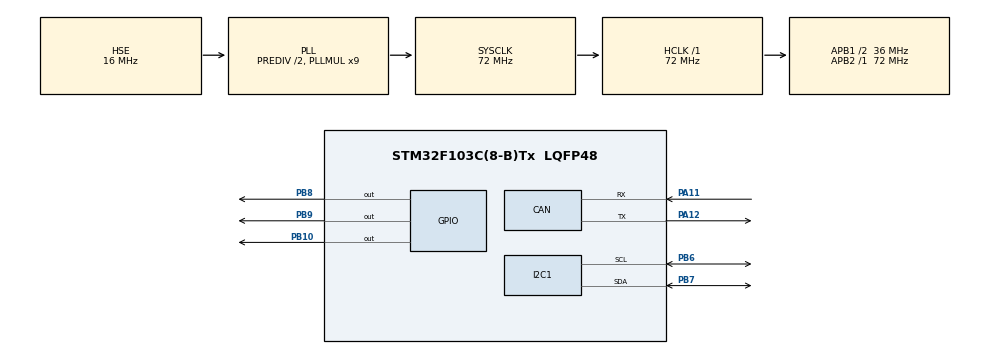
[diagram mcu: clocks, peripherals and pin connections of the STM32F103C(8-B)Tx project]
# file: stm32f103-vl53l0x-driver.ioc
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CAN.BS1=CAN_BS1_1TQ
CAN.BS2=CAN_BS2_1TQ
CAN.CalculateTimeBit=1333
CAN.CalculateTimeQuantum=444.44444444444446
Mcu.Family=STM32F1
Mcu.Name=STM32F103C(8-B)Tx
Mcu.Package=LQFP48
NVIC.CAN1_RX1_IRQn=true\:0\:0\:false\:false\:true\:true\:true
NVIC.PriorityGroup=NVIC_PRIORITYGROUP_4
PA11.Mode=Master
PA11.Signal=CAN_RX
PA12.Mode=Master
PA12.Signal=CAN_TX
PA13.Mode=Trace_Asynchronous_SW
PA13.Signal=SYS_JTMS-SWDIO
PA14.Mode=Trace_Asynchronous_SW
PA14.Signal=SYS_JTCK-SWCLK
PB10.Signal=GPIO_Output
PB3.Mode=Trace_Asynchronous_SW
PB3.Signal=SYS_JTDO-TRACESWO
PB6.Mode=I2C
PB6.Signal=I2C1_SCL
PB7.Mode=I2C
PB7.Signal=I2C1_SDA
PB8.Signal=GPIO_Output
PB9.Signal=GPIO_Output
PD0-OSC_IN.Mode=HSE-External-Oscillator
PD0-OSC_IN.Signal=RCC_OSC_IN
PD1-OSC_OUT.Mode=HSE-External-Oscillator
PD1-OSC_OUT.Signal=RCC_OSC_OUT
ProjectManager.HeapSize=0x1000
ProjectManager.StackSize=0x1000
ProjectManager.TargetToolchain=STM32CubeIDE
RCC.AHBFreq_Value=72000000
RCC.APB1CLKDivider=RCC_HCLK_DIV2
RCC.APB1Freq_Value=36000000
RCC.APB1TimFreq_Value=72000000
RCC.APB2Freq_Value=72000000
RCC.APB2TimFreq_Value=72000000
RCC.HCLKFreq_Value=72000000
RCC.HSEDivPLL=RCC_HSE_PREDIV_DIV2
RCC.HSE_VALUE=16000000
RCC.PLLMUL=RCC_PLL_MUL9
RCC.PLLSourceVirtual=RCC_PLLSOURCE_HSE
RCC.SYSCLKFreq_VALUE=72000000
RCC.SYSCLKSource=RCC_SYSCLKSOURCE_PLLCLK
RCC.USBFreq_Value=72000000
board=custom

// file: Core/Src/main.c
/* USER CODE BEGIN Header */
/**
  ******************************************************************************
  * @file           : main.c
  * @brief          : Main program body
  ******************************************************************************
  * @attention
  *
  * <h2><center>&copy; Copyright (c) 2020 STMicroelectronics.
  * All rights reserved.</center></h2>
  *
  * This software component is licensed by ST under BSD 3-Clause license,
  * the "License"; You may not use this file except in compliance with the
  * License. You may obtain a copy of the License at:
  *                        opensource.org/licenses/BSD-3-Clause
  *
  ******************************************************************************
  */
/* USER CODE END Header */

#include "main.h"

/* USER CODE BEGIN Includes */
#include "vl53l0x_usr.h"
#include "vl53l0x.h"
/* USER CODE END Includes */

/* USER CODE BEGIN PD */
#define LONG_RANGE
#define HIGH_SPEED
/* USER CODE END PD */

CAN_HandleTypeDef hcan;

I2C_HandleTypeDef hi2c1;

/* USER CODE BEGIN PV */
uint8_t aa = 0;
uint8_t bb = 0;
uint8_t cc = 0;
uint8_t ctrl_a = 0x00;
uint8_t ctrl_b = 0x00;
uint8_t init1 = 0;
uint8_t init2 = 0;
uint8_t measureValueToSm1 = 0;
uint8_t measureValueToSm2 = 0;
uint8_t measureValueToSm3 = 0;
uint16_t measureValue1 = 0;
uint16_t measureValue2 = 0;
uint16_t value1 = 0;
uint16_t value2 = 0;
uint8_t vl53l0x_data[3];
volatile uint32_t sysTick_Time = 0;
struct VL53L0X myTOFsensor1 = {.io_2v8 = true, .address = 0b0101001, .io_timeout = 50, .did_timeout = false};
struct VL53L0X myTOFsensor2 = {.io_2v8 = true, .address = 0b0101001, .io_timeout = 50, .did_timeout = false};
struct VL53L0X myTOFsensor3 = {.io_2v8 = true, .address = 0b0101001, .io_timeout = 50, .did_timeout = false};

CAN_TxHeaderTypeDef pHeader;
CAN_RxHeaderTypeDef pRxHeader;
CAN_FilterTypeDef sFilterConfig;
uint32_t TxMailbox;
/* USER CODE END PV */

void SystemClock_Config(void);
static void MX_GPIO_Init(void);
static void MX_CAN_Init(void);
static void MX_I2C1_Init(void);

int main(void)
{

  /* MCU Configuration--------------------------------------------------------*/

  /* Reset of all peripherals, Initializes the Flash interface and the Systick. */
  HAL_Init();

  /* Configure the system clock */
  SystemClock_Config();

  /* Initialize all configured peripherals */
  MX_GPIO_Init();
  MX_CAN_Init();
  MX_I2C1_Init();
  /* USER CODE BEGIN 2 */
  sensor_ini();
  HAL_GPIO_WritePin(GPIOB,GPIO_PIN_8,GPIO_PIN_RESET);
  HAL_Delay(20);
  HAL_GPIO_WritePin(GPIOB,GPIO_PIN_8,GPIO_PIN_SET);
  HAL_Delay(20);
  VL53L0X_setAddress(&myTOFsensor1,0x32);
  HAL_Delay(20);
  if(VL53L0X_init(&myTOFsensor1)) {
  	  aa = 2;
  }
  else {
	  aa = 1;
  }
//  HAL_GPIO_WritePin(GPIOB,GPIO_PIN_9,GPIO_PIN_SET);
//  HAL_Delay(20);
//  VL53L0X_setAddress(&myTOFsensor2,0x50);
//  HAL_Delay(20);
//  if(VL53L0X_init(&myTOFsensor2)) {
//	  bb = 2;
//  }
//  else {
//  	  bb = 1;
//  }
//  HAL_GPIO_WritePin(GPIOB,GPIO_PIN_15,GPIO_PIN_SET);
//  HAL_Delay(20);
//  VL53L0X_setAddress(&myTOFsensor3,0x33);
//  HAL_Delay(20);
//  if(VL53L0X_init(&myTOFsensor3)) {
//	  cc = 2;
//  }
//  else {
//	  cc = 1;
//  }
//
  #ifdef LONG_RANGE
  	// lower the return signal rate limit (default is 0.25 MCPS)
  VL53L0X_setSignalRateLimit(&myTOFsensor1, 0.1);
  	// increase laser pulse periods (defaults are 14 and 10 PCLKs)
  VL53L0X_setVcselPulsePeriod(&myTOFsensor1, VcselPeriodPreRange, 18);
  VL53L0X_setVcselPulsePeriod(&myTOFsensor1, VcselPeriodFinalRange, 14);
  	// lower the return signal rate limit (default is 0.25 MCPS)
  VL53L0X_setSignalRateLimit(&myTOFsensor2, 0.1);
  	//increase laser pulse periods (defaults are 14 and 10 PCLKs)
  VL53L0X_setVcselPulsePeriod(&myTOFsensor2, VcselPeriodPreRange, 18);
  VL53L0X_setVcselPulsePeriod(&myTOFsensor2, VcselPeriodFinalRange, 14);
	// lower the return signal rate limit (default is 0.25 MCPS)
  VL53L0X_setSignalRateLimit(&myTOFsensor3, 0.1);
	//increase laser pulse periods (defaults are 14 and 10 PCLKs)
  VL53L0X_setVcselPulsePeriod(&myTOFsensor3, VcselPeriodPreRange, 18);
  VL53L0X_setVcselPulsePeriod(&myTOFsensor3, VcselPeriodFinalRange, 14);
  #endif
  #ifdef HIGH_SPEED
  	// reduce timing budget to 20 ms (default is about 33 ms)
  VL53L0X_setMeasurementTimingBudget(&myTOFsensor1, 33000);
  VL53L0X_setMeasurementTimingBudget(&myTOFsensor2, 33000);
  VL53L0X_setMeasurementTimingBudget(&myTOFsensor3, 33000);
  #else //HIGH_ACCURACY
  	// increase timing budget to 200 ms
  VL53L0X_setMeasurementTimingBudget(&myTOFsensor1, 200000);
  VL53L0X_setMeasurementTimingBudget(&myTOFsensor2, 200000);
  VL53L0X_setMeasurementTimingBudget(&myTOFsensor3, 200000);
  #endif

  VL53L0X_startContinuous(&myTOFsensor1, 0);
  VL53L0X_startContinuous(&myTOFsensor2, 0);
  VL53L0X_startContinuous(&myTOFsensor3, 0);

  pHeader.DLC = 3;
  pHeader.IDE = CAN_ID_STD;
  pHeader.RTR = CAN_RTR_DATA;
  pHeader.StdId = 0x3D;

  sFilterConfig.FilterFIFOAssignment = CAN_FILTER_FIFO0;
  sFilterConfig.FilterIdHigh = 0xD<<5;
  sFilterConfig.FilterIdLow = 0;
  sFilterConfig.FilterMaskIdHigh = 0;
  sFilterConfig.FilterMaskIdLow = 0;
  sFilterConfig.FilterScale = CAN_FILTERSCALE_16BIT;
  sFilterConfig.FilterMode = CAN_FILTERMODE_IDLIST;
  sFilterConfig.FilterActivation = ENABLE;
  HAL_CAN_ConfigFilter(&hcan, &sFilterConfig);

  HAL_CAN_Start(&hcan);
  HAL_CAN_ActivateNotification(&hcan, CAN_IT_RX_FIFO0_MSG_PENDING);
  /* USER CODE END 2 */

  /* Infinite loop */
  while (1)
  {

    /* USER CODE BEGIN 3 */

	  measureValueToSm1 = (VL53L0X_readRangeContinuousMillimeters(&myTOFsensor1)/10 > 200) ? 0 : VL53L0X_readRangeContinuousMillimeters(&myTOFsensor1)/10;
//	  measureValueToSm2 = (VL53L0X_readRangeContinuousMillimeters(&myTOFsensor2)/10 > 200) ? 0 : VL53L0X_readRangeContinuousMillimeters(&myTOFsensor2)/10;
//	  measureValueToSm3 = (VL53L0X_readRangeContinuousMillimeters(&myTOFsensor3)/10 > 200) ? 0 : VL53L0X_readRangeContinuousMillimeters(&myTOFsensor3)/10;
//	  vl53l0x_data[0] = measureValueToSm1;
//	  vl53l0x_data[1] = measureValueToSm2;
//	  vl53l0x_data[2] = measureValueToSm3;
//	  if (!(HAL_GetTick() % 33)) {
//		  HAL_CAN_AddTxMessage(&hcan, &pHeader, vl53l0x_data, &TxMailbox);
//	  }
  }

  /* USER CODE END 3 */
}

void SystemClock_Config(void)
{
  RCC_OscInitTypeDef RCC_OscInitStruct = {0};
  RCC_ClkInitTypeDef RCC_ClkInitStruct = {0};

  /** Initializes the CPU, AHB and APB busses clocks
  */
  RCC_OscInitStruct.OscillatorType = RCC_OSCILLATORTYPE_HSE;
  RCC_OscInitStruct.HSEState = RCC_HSE_ON;
  RCC_OscInitStruct.HSEPredivValue = RCC_HSE_PREDIV_DIV2;
  RCC_OscInitStruct.HSIState = RCC_HSI_ON;
  RCC_OscInitStruct.PLL.PLLState = RCC_PLL_ON;
  RCC_OscInitStruct.PLL.PLLSource = RCC_PLLSOURCE_HSE;
  RCC_OscInitStruct.PLL.PLLMUL = RCC_PLL_MUL9;
  if (HAL_RCC_OscConfig(&RCC_OscInitStruct) != HAL_OK)
  {
    Error_Handler();
  }
  /** Initializes the CPU, AHB and APB busses clocks
  */
  RCC_ClkInitStruct.ClockType = RCC_CLOCKTYPE_HCLK|RCC_CLOCKTYPE_SYSCLK
                              |RCC_CLOCKTYPE_PCLK1|RCC_CLOCKTYPE_PCLK2;
  RCC_ClkInitStruct.SYSCLKSource = RCC_SYSCLKSOURCE_PLLCLK;
  RCC_ClkInitStruct.AHBCLKDivider = RCC_SYSCLK_DIV1;
  RCC_ClkInitStruct.APB1CLKDivider = RCC_HCLK_DIV2;
  RCC_ClkInitStruct.APB2CLKDivider = RCC_HCLK_DIV1;

  if (HAL_RCC_ClockConfig(&RCC_ClkInitStruct, FLASH_LATENCY_2) != HAL_OK)
  {
    Error_Handler();
  }
}

static void MX_CAN_Init(void)
{

  hcan.Instance = CAN1;
  hcan.Init.Prescaler = 16;
  hcan.Init.Mode = CAN_MODE_NORMAL;
  hcan.Init.SyncJumpWidth = CAN_SJW_1TQ;
  hcan.Init.TimeSeg1 = CAN_BS1_1TQ;
  hcan.Init.TimeSeg2 = CAN_BS2_1TQ;
  hcan.Init.TimeTriggeredMode = DISABLE;
  hcan.Init.AutoBusOff = DISABLE;
  hcan.Init.AutoWakeUp = DISABLE;
  hcan.Init.AutoRetransmission = DISABLE;
  hcan.Init.ReceiveFifoLocked = DISABLE;
  hcan.Init.TransmitFifoPriority = DISABLE;
  if (HAL_CAN_Init(&hcan) != HAL_OK)
  {
    Error_Handler();
  }

}

static void MX_I2C1_Init(void)
{

  hi2c1.Instance = I2C1;
  hi2c1.Init.ClockSpeed = 100000;
  hi2c1.Init.DutyCycle = I2C_DUTYCYCLE_2;
  hi2c1.Init.OwnAddress1 = 0;
  hi2c1.Init.AddressingMode = I2C_ADDRESSINGMODE_7BIT;
  hi2c1.Init.DualAddressMode = I2C_DUALADDRESS_DISABLE;
  hi2c1.Init.OwnAddress2 = 0;
  hi2c1.Init.GeneralCallMode = I2C_GENERALCALL_DISABLE;
  hi2c1.Init.NoStretchMode = I2C_NOSTRETCH_DISABLE;
  if (HAL_I2C_Init(&hi2c1) != HAL_OK)
  {
    Error_Handler();
  }

}

static void MX_GPIO_Init(void)
{
  GPIO_InitTypeDef GPIO_InitStruct = {0};

  /* GPIO Ports Clock Enable */
  __HAL_RCC_GPIOD_CLK_ENABLE();
  __HAL_RCC_GPIOB_CLK_ENABLE();
  __HAL_RCC_GPIOA_CLK_ENABLE();

  /*Configure GPIO pin Output Level */
  HAL_GPIO_WritePin(GPIOB, GPIO_PIN_10|GPIO_PIN_8|GPIO_PIN_9, GPIO_PIN_RESET);

  /*Configure GPIO pins : PB10 PB8 PB9 */
  GPIO_InitStruct.Pin = GPIO_PIN_10|GPIO_PIN_8|GPIO_PIN_9;
  GPIO_InitStruct.Mode = GPIO_MODE_OUTPUT_PP;
  GPIO_InitStruct.Pull = GPIO_NOPULL;
  GPIO_InitStruct.Speed = GPIO_SPEED_FREQ_LOW;
  HAL_GPIO_Init(GPIOB, &GPIO_InitStruct);

}

void Error_Handler(void)
{
}

/************************ (C) COPYRIGHT STMicroelectronics *****END OF FILE****/
